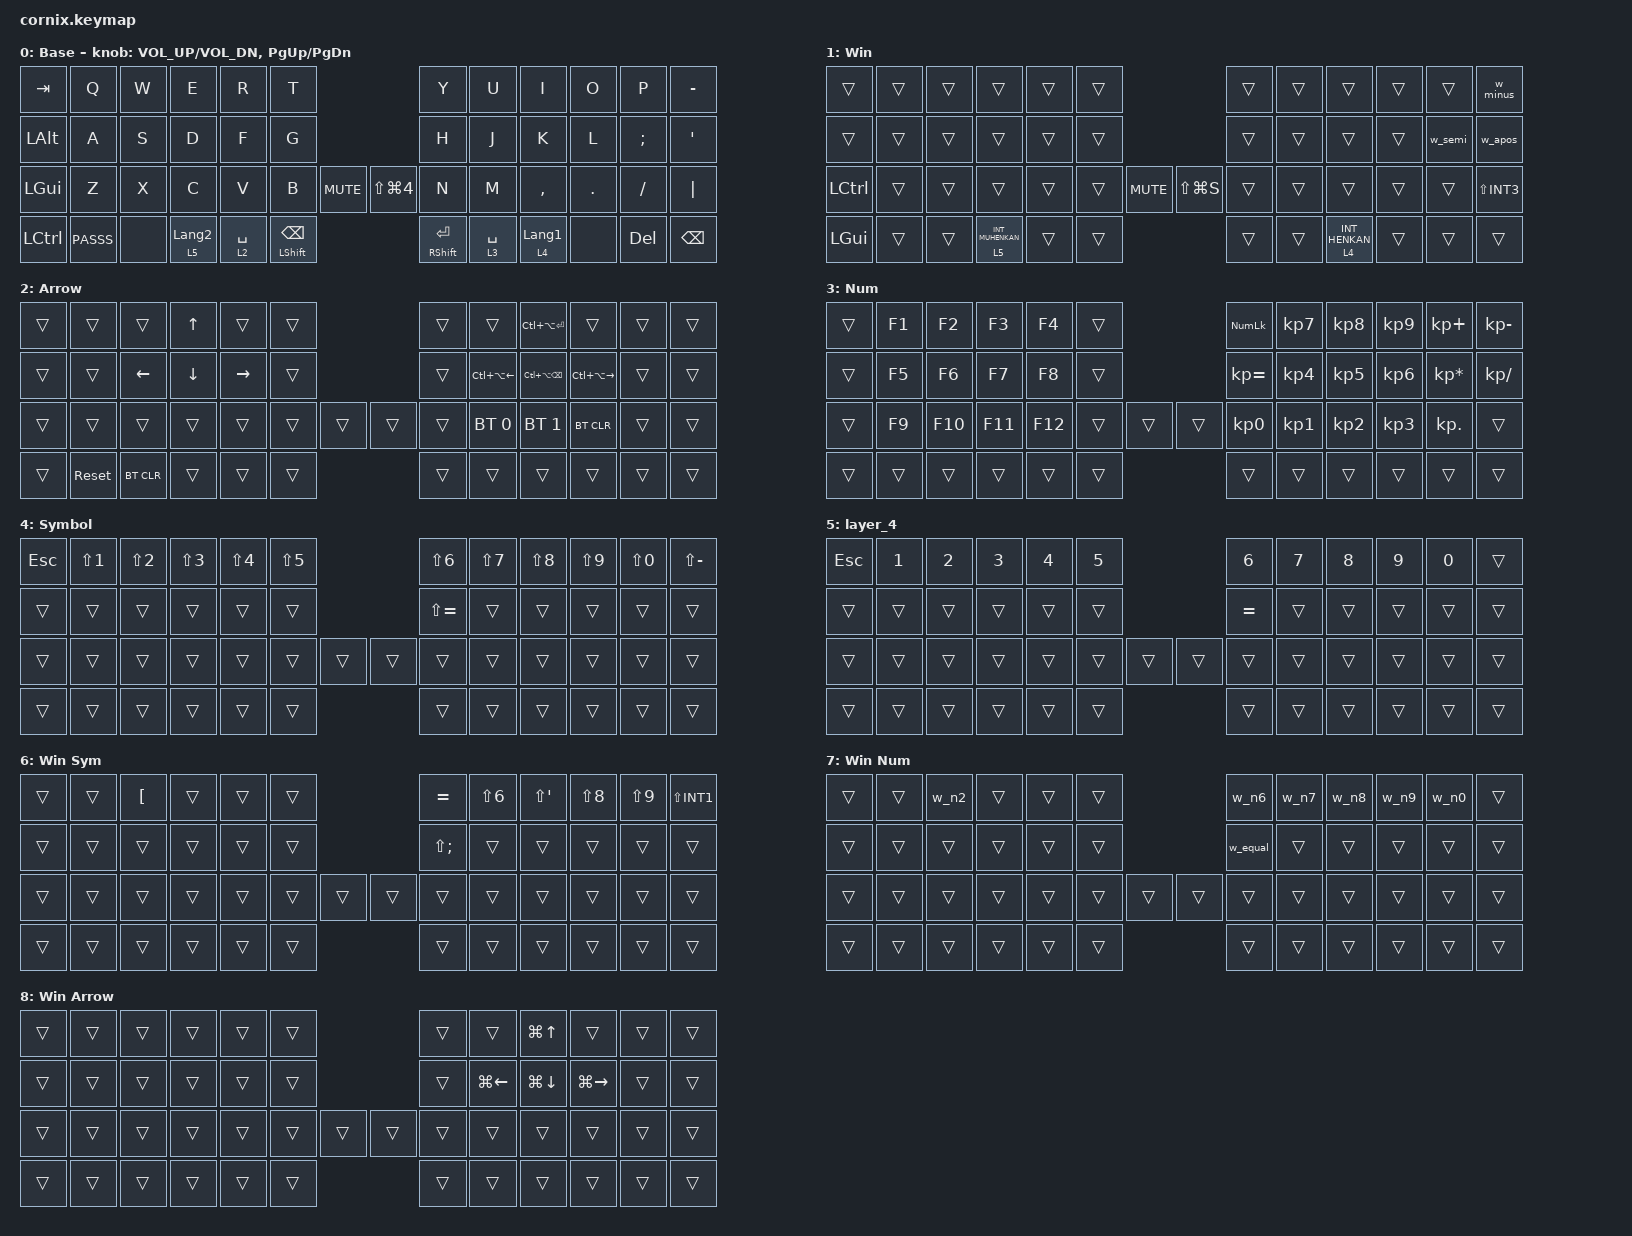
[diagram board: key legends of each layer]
/*
 * Copyright (c) 2020 The ZMK Contributors
 *
 * SPDX-License-Identifier: MIT
 */

#include "zmk-helpers/helper.h"
#include "includes/cornix54.h"

// tap windows for ctl alt and gui

#define HM_TAPPING_TERM 250
#define HM_TAPPING_REPEAT 210

// quick tapping for shift

#define HM_TAPPING_TERM_FAST 200
#define HM_PRIOR_IDLE 70
#define BASE 0
#define WIN 1
#define LOWER 2
#define RAISE 3
#define ADJUST 4
#define NAVI   5
#define NUM    6
#define DEBUG  7

// https://github.com/urob/zmk-config/tree/main#timeless-homerow-mods

#define KEYS_L LT0 LT1 LT2 LT3 LT4 LT5 LM0 LM1 LM2 LM3 LM4 LM5 LB0 LB1 LB2 LB3 LB4 LB5  // left hand
#define KEYS_R RT0 RT1 RT2 RT3 RT4 RT5 RM0 RM1 RM2 RM3 RM4 RM5 RB0 RB1 RB2 RB3 RB4 RB5  // right hand
#define THUMBS LH1 LH0 RH0 RH1
#define KEYS_T LH1 LH0 RH0 RH1
#define ZMK_POINTING_DEFAULT_SCRL_VAL 15

#include <behaviors.dtsi>
#include <dt-bindings/zmk/bt.h>
#include <dt-bindings/zmk/keys.h>

/ {
    // Activate ADJUST layer by pressing raise and lower

    behaviors {
        hm_l: homerow_mods_left {
            compatible = "zmk,behavior-hold-tap";
            #binding-cells = <2>;
            bindings = <&kp>, <&kp>;

            flavor = "balanced";
            tapping-term-ms = <HM_TAPPING_TERM>;
            quick-tap-ms = <200>;                // repeat on tap-into-hold
            require-prior-idle-ms = <HM_PRIOR_IDLE>;
            hold-trigger-key-positions = <KEYS_R KEYS_T>;
            hold-trigger-on-release;
        };

        hm_r: homerow_mods_right {
            compatible = "zmk,behavior-hold-tap";
            #binding-cells = <2>;
            bindings = <&kp>, <&kp>;

            flavor = "balanced";
            tapping-term-ms = <HM_TAPPING_TERM>;
            quick-tap-ms = <200>;
            require-prior-idle-ms = <HM_PRIOR_IDLE>;
            hold-trigger-key-positions = <KEYS_L KEYS_T>;
            hold-trigger-on-release;
        };

        // Positional Homerow mods for shift
        // Use faster tapping term and disable some features that may
        // cause false negatives.

        hm_shift_l: hm_shift_l {
            compatible = "zmk,behavior-hold-tap";
            #binding-cells = <2>;
            bindings = <&kp>, <&kp>;

            //flavor = "balanced";

            flavor = "balanced";
            tapping-term-ms = <HM_TAPPING_TERM_FAST>;
            quick-tap-ms = <200>;
            require-prior-idle-ms = <HM_PRIOR_IDLE>;
            hold-trigger-key-positions = <KEYS_R KEYS_T>;
            hold-trigger-on-release;
        };

        hm_shift_r: hm_shift_r {
            compatible = "zmk,behavior-hold-tap";
            #binding-cells = <2>;
            bindings = <&kp>, <&kp>;

            flavor = "balanced";
            tapping-term-ms = <HM_TAPPING_TERM_FAST>;
            quick-tap-ms = <200>;
            require-prior-idle-ms = <HM_PRIOR_IDLE>;
            hold-trigger-key-positions = <KEYS_L KEYS_T>;

            // for quick tapping; shift+~

            hold-trigger-on-release;
        };

        /*
         * Non-Positional Homerow Mods
         * Used for &mm_grescm_gui behavior on left hand.
         *
         * Usage: &hm LSHFT T
         * Tap: T
         * Tap-Tap-Hold: Repeat T
         * Hold: LSHIFT
         */

        hm: homerow_mods {
            compatible = "zmk,behavior-hold-tap";
            #binding-cells = <2>;
            bindings = <&kp>, <&kp>;

            flavor = "balanced";
            tapping-term-ms = <HM_TAPPING_TERM>;
            quick-tap-ms = <200>;
        };

        lt: layer_tap {
            compatible = "zmk,behavior-hold-tap";
            #binding-cells = <2>;
            bindings = <&mo>, <&kp>;

            flavor = "hold-preferred";
            tapping-term-ms = <HM_TAPPING_TERM>;
            quick-tap-ms = <200>;
        };

        // Windows (JIS input) versions of US keys: tap / with Shift.
        // Shift is removed before the Shift variant is sent (no keep-mods).

        w_minus: w_minus {
            compatible = "zmk,behavior-mod-morph";
            #binding-cells = <0>;
            bindings = <&kp MINUS>, <&kp LS(INT1)>;
            mods = <(MOD_LSFT|MOD_RSFT)>;
        };

        w_semi: w_semi {
            compatible = "zmk,behavior-mod-morph";
            #binding-cells = <0>;
            bindings = <&kp SEMI>, <&kp APOS>;
            mods = <(MOD_LSFT|MOD_RSFT)>;
        };

        // quote: ' / double quote
        w_apos: w_apos {
            compatible = "zmk,behavior-mod-morph";
            #binding-cells = <0>;
            bindings = <&kp LS(N7)>, <&kp LS(N2)>;
            mods = <(MOD_LSFT|MOD_RSFT)>;
        };

        w_n2: w_n2 {
            compatible = "zmk,behavior-mod-morph";
            #binding-cells = <0>;
            bindings = <&kp N2>, <&kp LBKT>;
            mods = <(MOD_LSFT|MOD_RSFT)>;
        };

        w_n6: w_n6 {
            compatible = "zmk,behavior-mod-morph";
            #binding-cells = <0>;
            bindings = <&kp N6>, <&kp EQUAL>;
            mods = <(MOD_LSFT|MOD_RSFT)>;
        };

        w_n7: w_n7 {
            compatible = "zmk,behavior-mod-morph";
            #binding-cells = <0>;
            bindings = <&kp N7>, <&kp LS(N6)>;
            mods = <(MOD_LSFT|MOD_RSFT)>;
        };

        w_n8: w_n8 {
            compatible = "zmk,behavior-mod-morph";
            #binding-cells = <0>;
            bindings = <&kp N8>, <&kp LS(APOS)>;
            mods = <(MOD_LSFT|MOD_RSFT)>;
        };

        w_n9: w_n9 {
            compatible = "zmk,behavior-mod-morph";
            #binding-cells = <0>;
            bindings = <&kp N9>, <&kp LS(N8)>;
            mods = <(MOD_LSFT|MOD_RSFT)>;
        };

        w_n0: w_n0 {
            compatible = "zmk,behavior-mod-morph";
            #binding-cells = <0>;
            bindings = <&kp N0>, <&kp LS(N9)>;
            mods = <(MOD_LSFT|MOD_RSFT)>;
        };

        w_equal: w_equal {
            compatible = "zmk,behavior-mod-morph";
            #binding-cells = <0>;
            bindings = <&kp LS(MINUS)>, <&kp LS(SEMI)>;
            mods = <(MOD_LSFT|MOD_RSFT)>;
        };
    };

    // Windows (JIS) overlays: active only while the Win layer (1) is on.
    // Layer 1 itself is switched on/off by the BLE profile (see src/profile_layer.c).

    conditional_layers {
        compatible = "zmk,conditional-layers";

        win_symbol {
            if-layers = <1 4>;
            then-layer = <6>;
        };

        win_number {
            if-layers = <1 5>;
            then-layer = <7>;
        };

        win_arrow {
            if-layers = <1 2>;
            then-layer = <8>;
        };
    };

    combos {
        compatible = "zmk,combos";

        Layer3 {
            bindings = <&mo 5>;
            key-positions = <46 42>;
        };
    };

    macros {
        PASSS: PASSS {
            compatible = "zmk,behavior-macro";
            #binding-cells = <0>;
            bindings = <&kp KP_NUMBER_0 &kp KP_NUMBER_5 &kp KP_NUMBER_2 &kp KP_NUMBER_1 &kp ENTER>;
            label = "PASSS";
        };
    };

    keymap {
        compatible = "zmk,keymap";

        default_layer {
            display-name = "Base";

            // ------------------------------------------------------------------------------------------------------------
            // |   `   |  1  |  2  |  3   |  4   |  5   |                   |  6   |  7    |  8    |  9   |   0   |       |
            // |  ESC  |  Q  |  W  |  E   |  R   |  T   |                   |  Y   |  U    |  I    |  O   |   P   | BKSPC |
            // |  TAB  |  A  |  S  |  D   |  F   |  G   |                   |  H   |  J    |  K    |  L   |   ;   |   '   |
            // | SHIFT |  Z  |  X  |  C   |  V   |  B   |  MUTE  |  |       |  N   |  M    |  ,    |  .   |   /   | SHIFT |
            //               | GUI | ALT  | CTRL | LOWER|  ENTER |  | SPACE | RAISE| CTRL  | ALT   | GUI  |

            bindings = <
&kp TAB    &kp Q   &kp W  &kp E             &kp R        &kp T                                                       &kp Y                  &kp U        &kp I             &kp O    &kp P       &kp MINUS
&kp LALT   &kp A   &kp S  &kp D             &kp F        &kp G                                                       &kp H                  &kp J        &kp K             &kp L    &kp SEMI    &kp APOS
&kp LGUI   &kp Z   &kp X  &kp C             &kp V        &kp B                     &kp K_MUTE  &kp LS(LG(NUMBER_4))  &kp N                  &kp M        &kp COMMA         &kp DOT  &kp FSLH    &kp PIPE
&kp LCTRL  &PASSS  &none  &lt 5 LANGUAGE_2  &lt 2 SPACE  &mt LEFT_SHIFT BACKSPACE                                    &mt RIGHT_SHIFT ENTER  &lt 3 SPACE  &lt 4 LANGUAGE_1  &none    &kp DELETE  &kp BSPC
            >;

            sensor-bindings = <&inc_dec_kp C_VOL_UP C_VOL_DN &inc_dec_kp PG_UP PG_DN>;
        };

        Win_layer {
            display-name = "Win";

            // Overlay on Base while BLE profile 2 (index 1, Windows) is selected.
            // Mac Cmd position -> Ctrl, Mac Ctrl position -> Win key,
            // Eisu/Kana -> Muhenkan/Henkan, symbols converted for JIS input.

            bindings = <
&trans      &trans  &trans  &trans               &trans  &trans                                           &trans  &trans  &trans             &trans  &trans    &w_minus
&trans      &trans  &trans  &trans               &trans  &trans                                           &trans  &trans  &trans             &trans  &w_semi   &w_apos
&kp LCTRL   &trans  &trans  &trans               &trans  &trans                &kp C_MUTE  &kp LS(LG(S))  &trans  &trans  &trans             &trans  &trans    &kp LS(INT3)
&kp LGUI    &trans  &trans  &lt 5 INT_MUHENKAN   &trans  &trans                                           &trans  &trans  &lt 4 INT_HENKAN   &trans  &trans    &trans
            >;
        };

        Arrow_layer {
            // Recovery keys on the left (central) half, usable while the right half is offline.
            // Hold the Arrow thumb key, then press a left palm key on the bottom row:
            //   2nd from the left edge -> &sys_reset  : reboot the left half and search for the right half again
            //   3rd from the left edge -> &bt BT_CLR  : forget the host pairing of the current Bluetooth profile
            // Right hand window keys, same result on both hosts:
            //   I = maximize   J = left half   K = restore   L = right half
            //   Mac (Magnet): Ctrl+Option + Return / Left / Delete / Right
            //   Windows (Win arrow layer): Win + Up / Left / Down / Right
            // Bluetooth: M = profile 1 (Mac), , = profile 2 (Windows, switches to the Win layer), . = clear.
            // The corner key stays transparent so Ctrl + arrows keeps working.

            bindings = <
&trans  &trans      &trans      &kp UP    &trans     &trans                  &trans  &trans               &kp LC(LA(RET))   &trans                &trans  &trans
&trans  &trans      &kp LEFT    &kp DOWN  &kp RIGHT  &trans                  &trans  &kp LC(LA(LEFT))     &kp LC(LA(BSPC))  &kp LC(LA(RIGHT))     &trans  &trans
&trans  &trans      &trans      &trans    &trans     &trans  &trans  &trans  &trans  &bt BT_SEL 0         &bt BT_SEL 1      &bt BT_CLR            &trans  &trans
&trans  &sys_reset  &bt BT_CLR  &trans    &trans     &trans                  &trans  &trans        &trans      &trans  &trans  &trans
            >;

            label = "Arrow";
        };

        Num_layer {
            bindings = <
&trans  &kp F1  &kp F2   &kp F3   &kp F4   &trans                  &kp KP_NUMLOCK   &kp KP_NUMBER_7  &kp KP_NUMBER_8  &kp KP_NUMBER_9  &kp KP_PLUS      &kp KP_MINUS
&trans  &kp F5  &kp F6   &kp F7   &kp F8   &trans                  &kp KP_EQUAL     &kp KP_NUMBER_4  &kp KP_NUMBER_5  &kp KP_NUMBER_6  &kp KP_MULTIPLY  &kp KP_DIVIDE
&trans  &kp F9  &kp F10  &kp F11  &kp F12  &trans  &trans  &trans  &kp KP_NUMBER_0  &kp KP_NUMBER_1  &kp KP_NUMBER_2  &kp KP_NUMBER_3  &kp KP_DOT       &trans
&trans  &trans  &trans   &trans   &trans   &trans                  &trans           &trans           &trans           &trans           &trans           &trans
            >;

            label = "Num";
        };

        Symbol_layer {
            bindings = <
&kp ESCAPE  &kp LS(N1)  &kp LS(N2)  &kp LS(N3)  &kp LS(N4)  &kp LS(N5)                  &kp LS(N6)     &kp LS(N7)  &kp LS(N8)  &kp LS(N9)  &kp LS(N0)  &kp LS(MINUS)
&trans      &trans      &trans      &trans      &trans      &trans                      &kp LS(EQUAL)  &trans      &trans      &trans      &trans      &trans
&trans      &trans      &trans      &trans      &trans      &trans      &trans  &trans  &trans         &trans      &trans      &trans      &trans      &trans
&trans      &trans      &trans      &trans      &trans      &trans                      &trans         &trans      &trans      &trans      &trans      &trans
            >;

            label = "Symbol";
        };

        layer_4 {
            bindings = <
&kp ESCAPE  &kp N1  &kp N2  &kp N3  &kp N4  &kp N5                  &kp N6     &kp N7  &kp N8  &kp N9  &kp N0  &trans
&trans      &trans  &trans  &trans  &trans  &trans                  &kp EQUAL  &trans  &trans  &trans  &trans  &trans
&trans      &trans  &trans  &trans  &trans  &trans  &trans  &trans  &trans     &trans  &trans  &trans  &trans  &trans
&trans      &trans  &trans  &trans  &trans  &trans                  &trans     &trans  &trans  &trans  &trans  &trans
            >;
        };

        Win_symbol_layer {
            display-name = "Win Sym";

            // Conditional: Symbol (4) + Win (1). Same characters as Symbol, sent as JIS keys.

            bindings = <
&trans  &trans  &kp LBKT  &trans  &trans  &trans                  &kp EQUAL     &kp LS(N6)  &kp LS(APOS)  &kp LS(N8)  &kp LS(N9)  &kp LS(INT1)
&trans  &trans  &trans    &trans  &trans  &trans                  &kp LS(SEMI)  &trans      &trans        &trans      &trans      &trans
&trans  &trans  &trans    &trans  &trans  &trans  &trans  &trans  &trans        &trans      &trans        &trans      &trans      &trans
&trans  &trans  &trans    &trans  &trans  &trans                  &trans        &trans      &trans        &trans      &trans      &trans
            >;
        };

        Win_number_layer {
            display-name = "Win Num";

            // Conditional: layer_4 (5) + Win (1). Shift + number gives the same symbol as on the Mac.

            bindings = <
&trans  &trans  &w_n2   &trans  &trans  &trans                  &w_n6     &w_n7   &w_n8   &w_n9   &w_n0   &trans
&trans  &trans  &trans  &trans  &trans  &trans                  &w_equal  &trans  &trans  &trans  &trans  &trans
&trans  &trans  &trans  &trans  &trans  &trans  &trans  &trans  &trans    &trans  &trans  &trans  &trans  &trans
&trans  &trans  &trans  &trans  &trans  &trans                  &trans    &trans  &trans  &trans  &trans  &trans
            >;
        };

        Win_arrow_layer {
            display-name = "Win Arrow";

            // Conditional: Arrow (2) + Win (1). Window moves use Win+arrow on Windows.

            bindings = <
&trans  &trans  &trans  &trans  &trans  &trans                  &trans  &trans          &kp LG(UP)    &trans           &trans  &trans
&trans  &trans  &trans  &trans  &trans  &trans                  &trans  &kp LG(LEFT)    &kp LG(DOWN)  &kp LG(RIGHT)    &trans  &trans
&trans  &trans  &trans  &trans  &trans  &trans  &trans  &trans  &trans  &trans          &trans        &trans           &trans  &trans
&trans  &trans  &trans  &trans  &trans  &trans                  &trans  &trans          &trans        &trans           &trans  &trans
            >;
        };
    };
};
